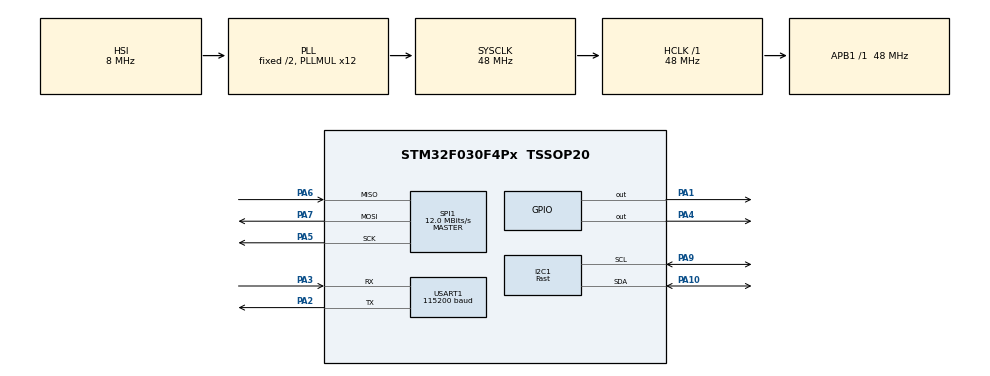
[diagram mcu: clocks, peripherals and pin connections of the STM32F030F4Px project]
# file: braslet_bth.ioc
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FATFS._MAX_SS=4096
FATFS._USE_LFN=1
I2C1.I2C_Speed_Mode=I2C_Fast
I2C1.Timing=0x0000020B
Mcu.Family=STM32F0
Mcu.Name=STM32F030F4Px
Mcu.Package=TSSOP20
NVIC.USART1_IRQn=true\:0\:0\:false\:false\:true\:true\:true
PA1.GPIO_Speed=GPIO_SPEED_FREQ_MEDIUM
PA1.Signal=GPIO_Output
PA10.Mode=I2C
PA10.Signal=I2C1_SDA
PA13.Mode=Serial_Wire
PA13.Signal=SYS_SWDIO
PA14.Mode=Serial_Wire
PA14.Signal=SYS_SWCLK
PA2.Mode=Asynchronous
PA2.Signal=USART1_TX
PA3.Mode=Asynchronous
PA3.Signal=USART1_RX
PA4.GPIO_Speed=GPIO_SPEED_FREQ_MEDIUM
PA4.Signal=GPIO_Output
PA5.Mode=Full_Duplex_Master
PA5.Signal=SPI1_SCK
PA6.Mode=Full_Duplex_Master
PA6.Signal=SPI1_MISO
PA7.Mode=Full_Duplex_Master
PA7.Signal=SPI1_MOSI
PA9.GPIO_Speed=GPIO_SPEED_FREQ_HIGH
PA9.Mode=I2C
PA9.Signal=I2C1_SCL
ProjectManager.HeapSize=0x200
ProjectManager.StackSize=0x400
ProjectManager.TargetToolchain=MDK-ARM V5
RCC.AHBFreq_Value=48000000
RCC.APB1Freq_Value=48000000
RCC.APB1TimFreq_Value=48000000
RCC.HCLKFreq_Value=48000000
RCC.PLLMUL=RCC_PLL_MUL12
RCC.SYSCLKFreq_VALUE=48000000
RCC.SYSCLKSource=RCC_SYSCLKSOURCE_PLLCLK
RTC.SynchPrediv=350
SPI1.BaudRatePrescaler=SPI_BAUDRATEPRESCALER_4
SPI1.CalculateBaudRate=12.0 MBits/s
SPI1.Direction=SPI_DIRECTION_2LINES
SPI1.Mode=SPI_MODE_MASTER
SPI1.VirtualType=VM_MASTER
USART1.BaudRate=115200
USART1.VirtualMode-Asynchronous=VM_ASYNC
VP_FATFS_VS_Generic.Mode=User_defined
VP_RTC_VS_RTC_Activate.Mode=RTC_Enabled
board=custom

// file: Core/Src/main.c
/* USER CODE BEGIN Header */
/**
  ******************************************************************************
  * @file           : main.c
  * @brief          : Main program body
  ******************************************************************************
  * @attention
  *
  * <h2><center>&copy; Copyright (c) 2021 STMicroelectronics.
  * All rights reserved.</center></h2>
  *
  * This software component is licensed by ST under BSD 3-Clause license,
  * the "License"; You may not use this file except in compliance with the
  * License. You may obtain a copy of the License at:
  *                        opensource.org/licenses/BSD-3-Clause
  *
  ******************************************************************************
  */
/* USER CODE END Header */
#include "main.h"
#include "fatfs.h"
#include "i2c.h"
#include "rtc.h"
#include "spi.h"
#include "usart.h"
#include "gpio.h"

/* USER CODE BEGIN Includes */
#include "../ssd1306/ssd1306.h"
#include "../ssd1306/ssd1306_tests.h"
#include "mpu6050.h"
/* USER CODE END Includes */

/* USER CODE BEGIN PV */

RTC_TimeTypeDef sTime = {0};
RTC_DateTypeDef DateToUpdate = {0};
char trans_str[64] = {0,};

MPU6050_t MPU6050;
/* USER CODE END PV */

void SystemClock_Config(void);
/* USER CODE BEGIN PFP */
char buff[100]={0};

void ssd1306_printtime()
{
		HAL_RTC_GetTime(&hrtc,&sTime,RTC_FORMAT_BIN);HAL_RTC_GetDate(&hrtc,&DateToUpdate,RTC_FORMAT_BIN);
		ssd1306_Fill(Black);

		sprintf(buff,"%02d:%02d:%02d",sTime.Hours,sTime.Minutes,sTime.Seconds);
    ssd1306_SetCursor(0, 37);ssd1306_WriteString(buff, Font_16x26, White);

		sprintf(buff,"%02d.%02d.20%02d",DateToUpdate.Date,DateToUpdate.Month,DateToUpdate.Year);
    ssd1306_SetCursor(0, 10);ssd1306_WriteString(buff, Font_11x18, White);

		ssd1306_UpdateScreen();
}
/* USER CODE END PFP */

int main(void)
{

  /* MCU Configuration--------------------------------------------------------*/

  /* Reset of all peripherals, Initializes the Flash interface and the Systick. */
  HAL_Init();

  /* Configure the system clock */
  SystemClock_Config();

  /* Initialize all configured peripherals */
  MX_GPIO_Init();
  MX_I2C1_Init();
  MX_RTC_Init();
  MX_USART1_UART_Init();
  MX_SPI1_Init();
  MX_FATFS_Init();

  /* Infinite loop */
  /* USER CODE BEGIN WHILE */

	SD_PowerOn();
	sd_ini();

	ssd1306_Init();
	sTime.Hours=23;
	sTime.Minutes=47;
	sTime.Seconds=35;
	HAL_RTC_SetTime(&hrtc, &sTime,RTC_FORMAT_BIN);

	DateToUpdate.Date=2;
	DateToUpdate.Month=11;
	DateToUpdate.Year=21;
	//HAL_RTC_SetDate(&hrtc, &DateToUpdate,RTC_FORMAT_BIN);
	while (MPU6050_Init(&hi2c1) == 1);
	USART1->CR1 = USART_CR1_UE;
	NVIC_EnableIRQ(USART1_IRQn); USART1->CR1 |= USART_CR1_TE | USART_CR1_RE | USART_CR1_RXNEIE;        //разрешение прерывания по приему данных UART1
	uint8_t i=0;
	//sprintf(buff,"dimaib %d\r\n",i);
	uint32_t utimeS = 1636700059;
	uint32_t utimeMS = 0;

	while (1)
  {
		ssd1306_printtime();									//вывод времени на дисплей
		MPU6050_Read_All(&hi2c1, &MPU6050);

		sprintf(buff,"%d.%04d, %f, %f, %f\r\n",utimeS,utimeMS, (float)MPU6050.Accel_X_RAW/10000,(float)MPU6050.Accel_Y_RAW/10000,(float)MPU6050.Accel_Z_RAW/10000);
		//HAL_UART_Transmit(&huart1,buff,strlen(buff),100);
		//utimeMS+=20;
		//if(utimeMS==1000) {utimeS++; utimeMS=0; GPIOA->ODR^=(1<<4);}
		/*
		sprintf(buff,"%d %d",MPU6050.Accel_X_RAW,MPU6050.Gyro_X_RAW);
    ssd1306_SetCursor(0, 1);ssd1306_WriteString(buff, Font_11x18, White);
		sprintf(buff,"%d %d",MPU6050.Accel_Y_RAW,MPU6050.Gyro_Y_RAW);
		ssd1306_SetCursor(0, 19);ssd1306_WriteString(buff, Font_11x18, White);
		sprintf(buff,"%d %d",MPU6050.Accel_Z_RAW,MPU6050.Gyro_Z_RAW);
		ssd1306_SetCursor(0, 37);ssd1306_WriteString(buff, Font_11x18, White);
		ssd1306_UpdateScreen();
		*/
		GPIOA->ODR^=(1<<4);
		HAL_Delay(11);
    /* USER CODE END WHILE */

  }
}

void SystemClock_Config(void)
{
  RCC_OscInitTypeDef RCC_OscInitStruct = {0};
  RCC_ClkInitTypeDef RCC_ClkInitStruct = {0};
  RCC_PeriphCLKInitTypeDef PeriphClkInit = {0};

  /** Initializes the RCC Oscillators according to the specified parameters
  * in the RCC_OscInitTypeDef structure.
  */
  RCC_OscInitStruct.OscillatorType = RCC_OSCILLATORTYPE_HSI|RCC_OSCILLATORTYPE_LSI;
  RCC_OscInitStruct.HSIState = RCC_HSI_ON;
  RCC_OscInitStruct.HSICalibrationValue = RCC_HSICALIBRATION_DEFAULT;
  RCC_OscInitStruct.LSIState = RCC_LSI_ON;
  RCC_OscInitStruct.PLL.PLLState = RCC_PLL_ON;
  RCC_OscInitStruct.PLL.PLLSource = RCC_PLLSOURCE_HSI;
  RCC_OscInitStruct.PLL.PLLMUL = RCC_PLL_MUL12;
  RCC_OscInitStruct.PLL.PREDIV = RCC_PREDIV_DIV1;
  if (HAL_RCC_OscConfig(&RCC_OscInitStruct) != HAL_OK)
  {
    Error_Handler();
  }
  /** Initializes the CPU, AHB and APB buses clocks
  */
  RCC_ClkInitStruct.ClockType = RCC_CLOCKTYPE_HCLK|RCC_CLOCKTYPE_SYSCLK
                              |RCC_CLOCKTYPE_PCLK1;
  RCC_ClkInitStruct.SYSCLKSource = RCC_SYSCLKSOURCE_PLLCLK;
  RCC_ClkInitStruct.AHBCLKDivider = RCC_SYSCLK_DIV1;
  RCC_ClkInitStruct.APB1CLKDivider = RCC_HCLK_DIV1;

  if (HAL_RCC_ClockConfig(&RCC_ClkInitStruct, FLASH_LATENCY_1) != HAL_OK)
  {
    Error_Handler();
  }
  PeriphClkInit.PeriphClockSelection = RCC_PERIPHCLK_USART1|RCC_PERIPHCLK_I2C1
                              |RCC_PERIPHCLK_RTC;
  PeriphClkInit.Usart1ClockSelection = RCC_USART1CLKSOURCE_PCLK1;
  PeriphClkInit.I2c1ClockSelection = RCC_I2C1CLKSOURCE_HSI;
  PeriphClkInit.RTCClockSelection = RCC_RTCCLKSOURCE_LSI;
  if (HAL_RCCEx_PeriphCLKConfig(&PeriphClkInit) != HAL_OK)
  {
    Error_Handler();
  }
}

void Error_Handler(void)
{
  __disable_irq();
  while (1)
  {
  }
}

/************************ (C) COPYRIGHT STMicroelectronics *****END OF FILE****/
